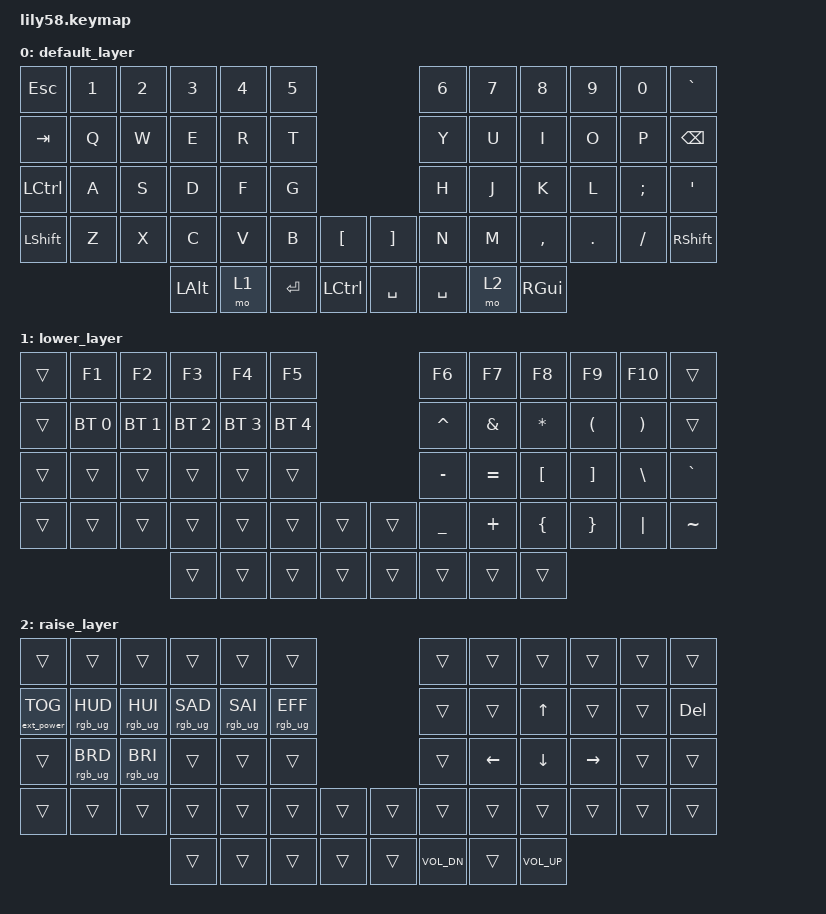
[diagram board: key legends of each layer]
/*
 * Lily58 Keymap - 3 layers
 * Layer 0: Default QWERTY
 * Layer 1: Lower (symbols / nav)
 * Layer 2: Raise (RGB / media)
 *
 * NOTE: This was reconstructed from your keymap SVG export.
 * The lower layer (layer 1) is a reasonable default since it was
 * cut off in the SVG. Adjust as needed — or use ZMK Studio over
 * USB on the dongle to remap keys live without reflashing.
 */

#include <behaviors.dtsi>
#include <dt-bindings/zmk/bt.h>
#include <dt-bindings/zmk/ext_power.h>
#include <dt-bindings/zmk/keys.h>
#include <dt-bindings/zmk/rgb.h>

/ {
    combos {
        compatible = "zmk,combos";

        bootloader {
            bindings = <&bootloader>;
            key-positions = <24 36 49>;
        };
    };

    keymap {
        compatible = "zmk,keymap";

        /* ---------------------------------------------------------------
         * LAYER 0 — Default QWERTY
         * ----------------------------------------------------------------
         * ,-----.-----.-----.-----.-----.-----.     ,-----.-----.-----.-----.-----.-----.
         * | ESC |  1  |  2  |  3  |  4  |  5  |     |  6  |  7  |  8  |  9  |  0  |  ` |
         * |-----+-----+-----+-----+-----+-----|     |-----+-----+-----+-----+-----+-----|
         * | TAB |  Q  |  W  |  E  |  R  |  T  |     |  Y  |  U  |  I  |  O  |  P  |  - |
         * |-----+-----+-----+-----+-----+-----|     |-----+-----+-----+-----+-----+-----|
         * |CAPS |  A  |  S  |  D  |  F  |  G  |     |  H  |  J  |  K  |  L  |  ;  |  ' |
         * |-----+-----+-----+-----+-----+-----+-----.-----.-----+-----+-----+-----+-----|
         * |SHFT |  Z  |  X  |  C  |  V  |  B  |  [  |  ]  |  N  |  M  |  ,  |  .  |  / |SHFT|
         * `-----.-----.-----+-----+-----+-----+-----.-----.-----+-----+-----+-----'-----.
         *                   | GUI | ALT | LWR |CTRL |SPC  | RSE | ALT | GUI |
         *                   `-----'-----'-----'-----'-----'-----'-----'-----'
         */

        default_layer {
            bindings = <
&kp ESC    &kp N1  &kp N2  &kp N3        &kp N4  &kp N5                             &kp N6     &kp N7  &kp N8     &kp N9   &kp N0    &kp GRAVE
&kp TAB    &kp Q   &kp W   &kp E         &kp R   &kp T                              &kp Y      &kp U   &kp I      &kp O    &kp P     &kp BACKSPACE
&kp LCTRL  &kp A   &kp S   &kp D         &kp F   &kp G                              &kp H      &kp J   &kp K      &kp L    &kp SEMI  &kp SQT
&kp LSHFT  &kp Z   &kp X   &kp C         &kp V   &kp B      &kp LBKT     &kp RBKT   &kp N      &kp M   &kp COMMA  &kp DOT  &kp FSLH  &kp RSHFT
                           &kp LEFT_ALT  &mo 1   &kp ENTER  &kp LCTRL    &kp SPACE  &kp SPACE  &mo 2   &kp RGUI
            >;
        };

        /* ---------------------------------------------------------------
         * LAYER 1 — Lower (Symbols / Navigation)
         * NOTE: Adjust this layer to match your original if it differs.
         * ----------------------------------------------------------------
         * ,-----.-----.-----.-----.-----.-----.     ,-----.-----.-----.-----.-----.-----.
         * |     | F1  | F2  | F3  | F4  | F5  |     | F6  | F7  | F8  | F9  | F10 |     |
         * |-----+-----+-----+-----+-----+-----|     |-----+-----+-----+-----+-----+-----|
         * |     |  !  |  @  |  #  |  $  |  %  |     |  ^  |  &  |  *  |  (  |  )  |     |
         * |-----+-----+-----+-----+-----+-----|     |-----+-----+-----+-----+-----+-----|
         * |     |     |     |     |     |     |     |  -  |  =  |  [  |  ]  |  \  |  `  |
         * |-----+-----+-----+-----+-----+-----+-----.-----.-----+-----+-----+-----+-----|
         * |     |     |     |     |     |     |     |      |  _  |  +  |  {  |  }  |  |  |  ~  |
         * `-----.-----.-----+-----+-----+-----+-----.-----.-----+-----+-----+-----'-----.
         *                   |     |     |     |     |      |     |     |     |
         *                   `-----'-----'-----'-----'------'-----'-----'-----'
         */

        lower_layer {
            bindings = <
&trans  &kp F1        &kp F2        &kp F3        &kp F4        &kp F5                          &kp F6     &kp F7     &kp F8    &kp F9    &kp F10   &trans
&trans  &bt BT_SEL 0  &bt BT_SEL 1  &bt BT_SEL 2  &bt BT_SEL 3  &bt BT_SEL 4                    &kp CARET  &kp AMPS   &kp STAR  &kp LPAR  &kp RPAR  &trans
&trans  &trans        &trans        &trans        &trans        &trans                          &kp MINUS  &kp EQUAL  &kp LBKT  &kp RBKT  &kp BSLH  &kp GRAVE
&trans  &trans        &trans        &trans        &trans        &trans        &trans    &trans  &kp UNDER  &kp PLUS   &kp LBRC  &kp RBRC  &kp PIPE  &kp TILDE
                                    &trans        &trans        &trans        &trans    &trans  &trans     &trans     &trans
            >;
        };

        /* ---------------------------------------------------------------
         * LAYER 2 — Raise (RGB / Media)
         * Reconstructed from SVG — matches your original raise layer.
         * ----------------------------------------------------------------
         * ,-----.-----.-----.-----.-----.-----.     ,-----.-----.-----.-----.-----.-----.
         * |     |     |     |     |     |     |     |     |     |     |     |     |     |
         * |-----+-----+-----+-----+-----+-----|     |-----+-----+-----+-----+-----+-----|
         * |EPTOG|R_HUD|R_HUI|R_SAD|R_SAI|R_EFF|     |     |     |     |     |     |     |
         * |-----+-----+-----+-----+-----+-----|     |-----+-----+-----+-----+-----+-----|
         * |     |R_BRD|R_BRI|     |     |     |     |     |     |     |     |     |     |
         * |-----+-----+-----+-----+-----+-----+-----.-----.-----+-----+-----+-----+-----|
         * |     |     |     |     |     |     |     |     |     |     |     |     |     |     |
         * `-----.-----.-----+-----+-----+-----+-----.-----.-----+-----+-----+-----'-----.
         *                   |     |     |     |     |      |     |     |     |
         *                   `-----'-----'-----'-----'------'-----'-----'-----'
         */

        raise_layer {
            bindings = <
&trans             &trans           &trans           &trans           &trans           &trans                             &trans        &trans          &trans          &trans           &trans  &trans
&ext_power EP_TOG  &rgb_ug RGB_HUD  &rgb_ug RGB_HUI  &rgb_ug RGB_SAD  &rgb_ug RGB_SAI  &rgb_ug RGB_EFF                    &trans        &trans          &kp UP_ARROW    &trans           &trans  &kp DELETE
&trans             &rgb_ug RGB_BRD  &rgb_ug RGB_BRI  &trans           &trans           &trans                             &trans        &kp LEFT_ARROW  &kp DOWN_ARROW  &kp RIGHT_ARROW  &trans  &trans
&trans             &trans           &trans           &trans           &trans           &trans           &trans    &trans  &trans        &trans          &trans          &trans           &trans  &trans
                                                     &trans           &trans           &trans           &trans    &trans  &kp C_VOL_DN  &trans          &kp C_VOL_UP
            >;
        };
    };
};
